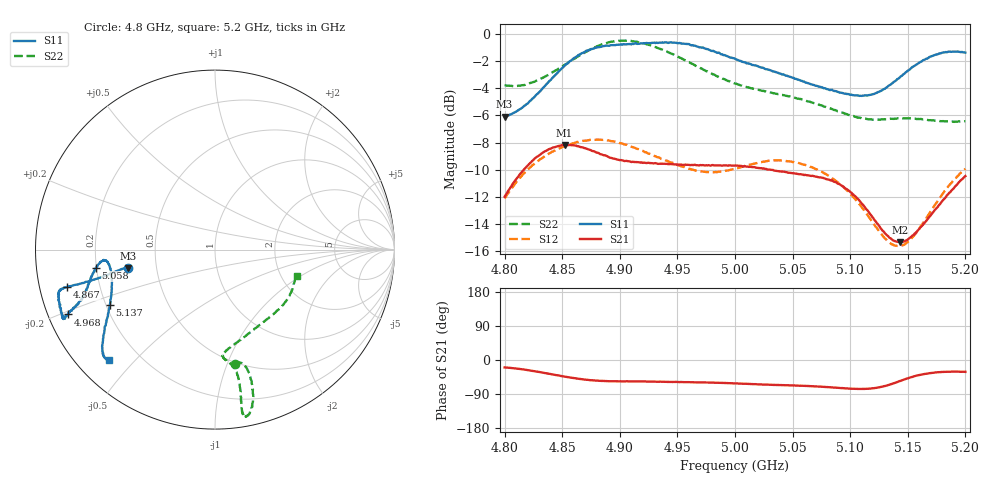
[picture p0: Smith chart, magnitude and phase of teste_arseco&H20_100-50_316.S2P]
! Network Analyzer HP8722D
! Hewlett-Packard
! Data name: Linha & Wilkinson
! Saver's name: Rodrigo Anjos
! Comments: Teste da utilização de aquisição
! continua pelo VNA HP8722D
! Time and date: 6/5/2025 15:12
!  Frequency  S11  S21  S12  S22
# HZ  S  MA R 50
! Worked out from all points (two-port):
!   401 points, 4.8 GHz to 5.2 GHz, reference 50 ohm
!   highest |S21| = -8.16 dB at 4.852 GHz (marker M1); lowest = -15.3 dB at 5.143 GHz (marker M2)
!   |S21| within 3 dB of the highest: 4.806 GHz to 5.093 GHz (286.5 MHz wide, 5.79 % of centre); 5.191817 GHz to end of sweep
!   lowest |S11| = -6.1 dB at 4.8 GHz (marker M3), VSWR 2.97, Z = 17 - j4.6 ohm
!   |S11| at or under -10 dB: nowhere
!   |S22| runs from -6.5 to -0.5 dB; largest |S21 - S12| = 0.62
!   S11 on the Smith chart (normalised r, x): 4.8 GHz: 0.34, -0.09; 4.867 GHz: 0.08, -0.12; 4.968 GHz: 0.06, -0.21; 5.058 GHz: 0.20, -0.07; 5.137 GHz: 0.22, -0.23; 5.2 GHz: 0.09, -0.43
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4.8e9  0.4961 -168.1  0.2518 -19.7  0.2483 -140.7  0.6477 -80.3
4.826e9  0.5872 -167.2  0.3479 -29.6  0.3335 -144.4  0.6667 -75.6
4.852e9  0.7628 -165.8  0.3908 -43.8  0.3864 -149.4  0.7688 -74.6
4.867e9  0.8491 -165.7  0.383 -50.8  0.403 -152.0  0.8442 -75.4
4.881e9  0.8948 -165.4  0.3653 -54.5  0.4088 -154.4  0.9028 -76.9
4.901e9  0.9148 -162.3  0.3436 -56.3  0.3962 -156.7  0.9448 -79.2
4.934e9  0.9281 -156.3  0.3327 -57.4  0.3514 -155.6  0.8832 -80.4
4.951e9  0.9245 -155.3  0.3306 -58.2  0.3284 -152.5  0.822 -79.9
4.968e9  0.8963 -156.2  0.3287 -59.0  0.3134 -147.6  0.7548 -79.6
5e9  0.8103 -159.0  0.3283 -61.8  0.3195 -137.2  0.6568 -81.3
5.033e9  0.7272 -164.9  0.3158 -65.6  0.3419 -134.2  0.606 -85.4
5.058e9  0.6719 -171.2  0.3039 -68.0  0.3319 -136.0  0.5741 -84.6
5.067e9  0.651 -173.0  0.3008 -69.1  0.3231 -136.7  0.5591 -82.5
5.084e9  0.6234 -174.6  0.2897 -72.3  0.2953 -138.3  0.5298 -76.3
5.104e9  0.5941 -171.0  0.2537 -76.1  0.2476 -138.5  0.4964 -64.6
5.118e9  0.5978 -164.3  0.2155 -75.2  0.2068 -134.5  0.4848 -54.3
5.134e9  0.6473 -154.4  0.1781 -65.3  0.1709 -120.8  0.4868 -43.4
5.137e9  0.6607 -152.4  0.1742 -62.3  0.168 -116.9  0.4874 -41.5
5.143e9  0.6913 -149.3  0.1712 -55.8  0.1659 -109.0  0.4885 -38.0
5.154e9  0.7555 -144.5  0.1812 -44.5  0.1788 -95.0  0.4877 -32.3
5.172e9  0.8322 -139.0  0.2209 -33.5  0.2296 -81.1  0.4803 -24.6
5.2e9  0.8532 -133.6  0.3 -31.3  0.3191 -76.9  0.4767 -17.7
